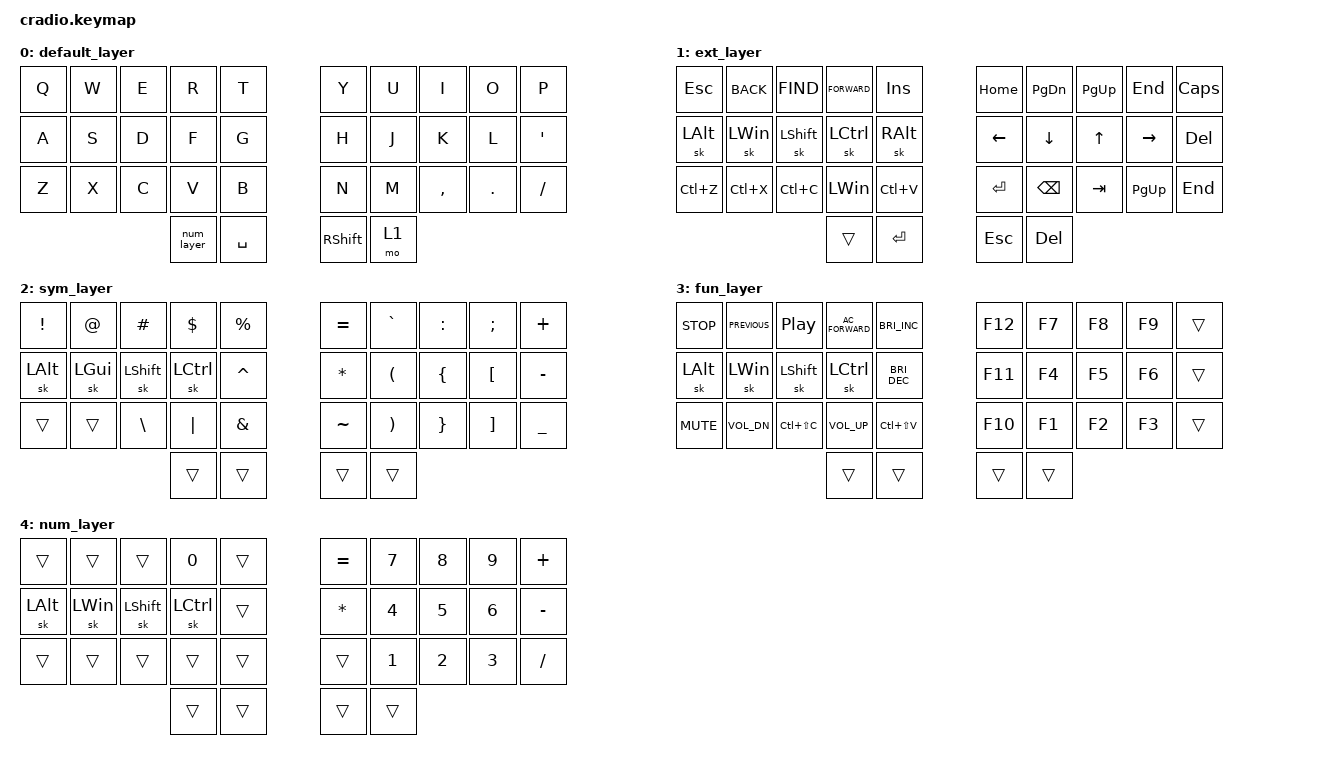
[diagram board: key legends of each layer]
/*
 * Copyright (c) 2020 The ZMK Contributors
 *
 * SPDX-License-Identifier: MIT
 */

#undef ZMK_BEHAVIORS_KEEP_ALL

#include <behaviors.dtsi>
#include <dt-bindings/zmk/keys.h>
#include <dt-bindings/zmk/bt.h>

#define NAV_L 1
#define OTHER_L 2
#define NUM_L 3
#define SYM_L 4

// Using layer taps on thumbs, having quick tap as well helps w/ repeating space/backspace

&lt { quick-tap-ms = <200>; };

/ {
    behaviors {
        hm: homerow_mods {
            compatible = "zmk,behavior-hold-tap";
            #binding-cells = <2>;
            tapping-term-ms = <200>;
            flavor = "tap-preferred";
            bindings = <&kp>, <&kp>;
        };

        num_layer: num_layer {
            compatible = "zmk,behavior-mod-morph";
            label = "NUM_LAYER";
            bindings = <&mo 2>, <&mo 4>;

            #binding-cells = <0>;
            mods = <(MOD_RSFT)>;
        };
    };

    keymap {
        compatible = "zmk,keymap";

        default_layer {
            bindings = <
&kp Q  &kp W  &kp E  &kp R       &kp T        &kp Y       &kp U  &kp I      &kp O    &kp P
&kp A  &kp S  &kp D  &kp F       &kp G        &kp H       &kp J  &kp K      &kp L    &kp SQT
&kp Z  &kp X  &kp C  &kp V       &kp B        &kp N       &kp M  &kp COMMA  &kp DOT  &kp FSLH
                     &num_layer  &kp SPACE    &kp RSHIFT  &mo 1
            >;
        };

        ext_layer {
            bindings = <
&kp ESCAPE    &kp K_BACK    &kp K_FIND  &kp K_FORWARD  &kp INSERT       &kp HOME   &kp PAGE_DOWN   &kp PAGE_UP   &kp END          &kp CAPSLOCK
&sk LEFT_ALT  &sk LEFT_WIN  &sk LSHIFT  &sk LCTRL      &sk RIGHT_ALT    &kp LEFT   &kp DOWN_ARROW  &kp UP_ARROW  &kp RIGHT_ARROW  &kp DELETE
&kp LC(Z)     &kp LC(X)     &kp LC(C)   &kp LEFT_WIN   &kp LC(V)        &kp ENTER  &kp BACKSPACE   &kp TAB       &kp PG_UP        &kp END
                                        &trans         &kp ENTER        &kp ESC    &kp DEL
            >;
        };

        sym_layer {
            bindings = <
&kp EXCLAMATION  &kp AT_SIGN   &kp HASH       &kp DOLLAR  &kp PERCENT      &kp EQUAL     &kp GRAVE              &kp COLON        &kp SEMICOLON      &kp PLUS
&sk LEFT_ALT     &sk LEFT_GUI  &sk LSHIFT     &sk LCTRL   &kp CARET        &kp ASTERISK  &kp LEFT_PARENTHESIS   &kp LEFT_BRACE   &kp LEFT_BRACKET   &kp MINUS
&trans           &trans        &kp BACKSLASH  &kp PIPE    &kp AMPERSAND    &kp TILDE     &kp RIGHT_PARENTHESIS  &kp RIGHT_BRACE  &kp RIGHT_BRACKET  &kp UNDERSCORE
                                              &trans      &trans           &trans        &trans
            >;
        };

        fun_layer {
            bindings = <
&kp C_STOP  &kp C_PREVIOUS  &kp C_PLAY_PAUSE  &kp C_AC_FORWARD  &kp C_BRIGHTNESS_INC    &kp F12  &kp F7  &kp F8  &kp F9  &trans
&sk LALT    &sk LEFT_WIN    &sk LSHIFT        &sk LCTRL         &kp C_BRIGHTNESS_DEC    &kp F11  &kp F4  &kp F5  &kp F6  &trans
&kp C_MUTE  &kp C_VOL_DN    &kp LC(LS(C))     &kp C_VOL_UP      &kp LC(LS(V))           &kp F10  &kp F1  &kp F2  &kp F3  &trans
                                              &trans            &trans                  &trans   &trans
            >;
        };

        num_layer {
            bindings = <
&trans    &trans        &trans      &kp N0     &trans    &kp EQUAL     &kp N7        &kp N8        &kp N9  &kp PLUS
&sk LALT  &sk LEFT_WIN  &sk LSHIFT  &sk LCTRL  &trans    &kp ASTERISK  &kp N4        &kp N5        &kp N6  &kp MINUS
&trans    &trans        &trans      &trans     &trans    &trans        &kp NUMBER_1  &kp NUMBER_2  &kp N3  &kp FSLH
                                    &trans     &trans    &trans        &trans
            >;
        };
    };

    conditional_layers {
        compatible = "zmk,conditional-layers";

        fun {
            if-layers = <1 2>;
            then-layer = <3>;
        };
    };
};
